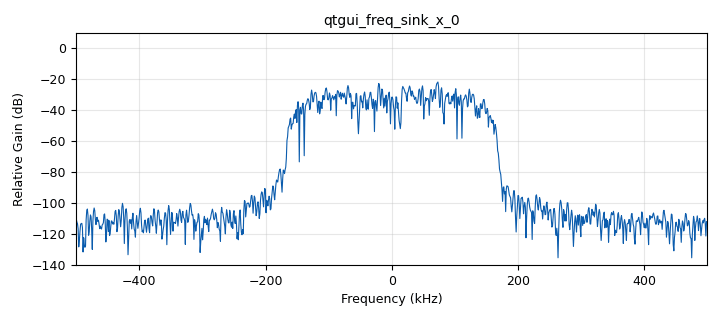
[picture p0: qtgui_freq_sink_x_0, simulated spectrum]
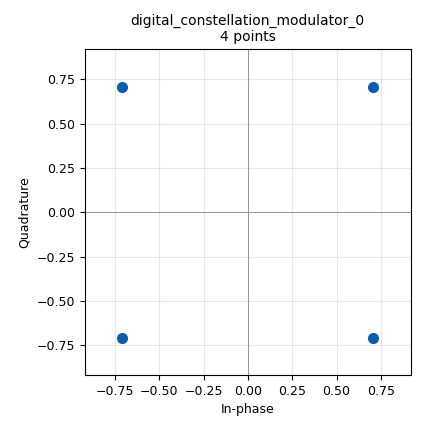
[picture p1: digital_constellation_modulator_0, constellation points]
options:
  parameters:
    author: root
    generate_options: qt_gui
    id: stage3_tx
    output_language: python
    title: Not titled yet
  states: {}

blocks:
- name: arity
  id: variable
  parameters:
    value: '4'
  states: {}
- name: excess_bw
  id: variable
  parameters:
    value: '0.35'
  states: {}
- name: nfilts
  id: variable
  parameters:
    value: '32'
  states: {}
- name: qpsk
  id: variable_constellation_rect
  parameters:
    const_points: '[0.707+0.707j, -0.707+0.707j, -0.707-0.707j, 0.707-0.707j]'
    imag_sect: '2'
    real_sect: '2'
    rot_sym: '4'
    sym_map: '[0, 1, 2, 3]'
    w_imag_sect: '1'
    w_real_sect: '1'
  states: {}
- name: rrc_taps
  id: variable
  parameters:
    value: firdes.root_raised_cosine(nfilts, nfilts, 1.0/float(sps), 0.35, 45*nfilts)
  states: {}
- name: samp_rate_0
  id: variable
  parameters:
    value: '1000000'
  states: {}
- name: sps
  id: variable
  parameters:
    value: '4'
  states: {}
- name: taps
  id: variable
  parameters:
    value: '[1.0 + 0.0j, ]'
  states: {}
- name: taps_0
  id: variable
  parameters:
    value: '[1.0, 0.25-0.25j, 0.50 + 0.10j, -0.3 + 0.2j]'
  states: {state: disabled}
- name: analog_random_source_x_0
  id: analog_random_source_x
  parameters:
    max: '256'
    min: '0'
    num_samps: '10000'
    repeat: 'True'
    type: byte
  states: {}
- name: blocks_throttle_0
  id: blocks_throttle
  parameters:
    samples_per_second: samp_rate_0
    type: complex
  states: {}
- name: digital_constellation_modulator_0
  id: digital_constellation_modulator
  parameters:
    constellation: qpsk
    differential: 'True'
    excess_bw: excess_bw
    samples_per_symbol: sps
  states: {}
- name: qtgui_freq_sink_x_0
  id: qtgui_freq_sink_x
  parameters:
    bw: samp_rate_0
    fc: '0'
    fftsize: '1024'
    type: complex
    wintype: firdes.WIN_BLACKMAN_hARRIS
  states: {}
- name: uhd_usrp_sink_0
  id: uhd_usrp_sink
  parameters:
    ant0: TX/RX
    bw0: '1000000'
    center_freq0: '3000000000'
    dev_args: '""'
    gain0: '20'
    len_tag_name: ''
    norm_gain0: 'False'
    samp_rate: samp_rate_0
    sync: pc_clock
    type: fc32
  states: {}

connections:
- [analog_random_source_x_0, '0', digital_constellation_modulator_0, '0']
- [blocks_throttle_0, '0', qtgui_freq_sink_x_0, '0']
- [blocks_throttle_0, '0', uhd_usrp_sink_0, '0']
- [digital_constellation_modulator_0, '0', blocks_throttle_0, '0']

metadata:
  file_format: 1
